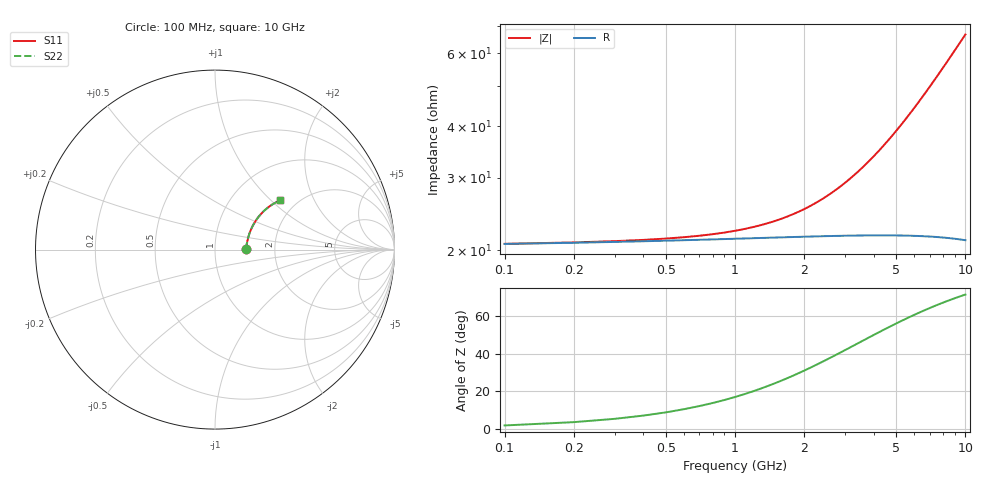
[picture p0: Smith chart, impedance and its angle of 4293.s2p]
# Hz S RI R 50.00
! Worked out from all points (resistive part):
!   100 points, 100 MHz to 10 GHz, reference 50 ohm
!   read as one part in series: R = 20.7 ohm at 100 MHz
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1e8  0.1717 0.00381  0.8283 -0.00507  0.8283 -0.00507  0.1717 0.00381
6e8  0.1755 0.0226  0.8245 -0.0302  0.8245 -0.0302  0.1755 0.0226
1e9  0.1782 0.0375  0.8217 -0.0501  0.8217 -0.0501  0.1782 0.0375
1.4e9  0.1813 0.0522  0.8185 -0.0699  0.8185 -0.0699  0.1813 0.0522
1.8e9  0.1849 0.0667  0.8148 -0.0895  0.8148 -0.0895  0.1849 0.0667
2.1e9  0.188 0.0774  0.8116 -0.104  0.8116 -0.104  0.188 0.0774
2.4e9  0.1914 0.088  0.808 -0.1184  0.808 -0.1184  0.1914 0.088
2.9e9  0.1979 0.1053  0.8014 -0.142  0.8014 -0.142  0.1979 0.1053
3.4e9  0.2052 0.122  0.7937 -0.1651  0.7937 -0.1651  0.2052 0.122
4.2e9  0.2188 0.1476  0.7797 -0.2008  0.7797 -0.2008  0.2188 0.1476
4.7e9  0.2283 0.1627  0.7697 -0.2223  0.7697 -0.2223  0.2283 0.1627
5.1e9  0.2365 0.1743  0.7612 -0.239  0.7612 -0.239  0.2365 0.1743
5.5e9  0.2451 0.1854  0.7522 -0.2552  0.7522 -0.2552  0.2451 0.1854
5.9e9  0.2541 0.196  0.7428 -0.2709  0.7428 -0.2709  0.2541 0.196
6.3e9  0.2635 0.2061  0.733 -0.2861  0.733 -0.2861  0.2635 0.2061
6.7e9  0.2733 0.2157  0.7228 -0.3008  0.7228 -0.3008  0.2733 0.2157
7.1e9  0.2833 0.2247  0.7122 -0.3149  0.7122 -0.3149  0.2833 0.2247
7.5e9  0.2937 0.2332  0.7013 -0.3286  0.7013 -0.3286  0.2937 0.2332
7.9e9  0.3043 0.2412  0.6902 -0.3416  0.6902 -0.3416  0.3043 0.2412
8.4e9  0.3178 0.2503  0.6759 -0.3572  0.6759 -0.3572  0.3178 0.2503
9.2e9  0.34 0.2632  0.6525 -0.3804  0.6525 -0.3804  0.34 0.2632
1e10  0.3626 0.2739  0.6285 -0.4015  0.6285 -0.4015  0.3626 0.2739
